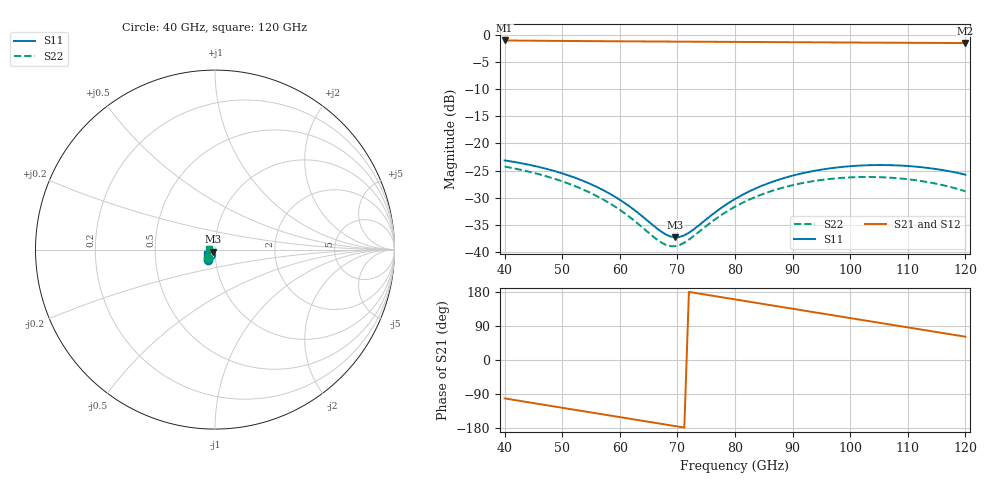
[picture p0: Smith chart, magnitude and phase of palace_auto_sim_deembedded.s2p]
! Created with skrf 1.11.0 (http://scikit-rf.org).
# GHz S DB R 50.0
!freq dBS11 angS11 dBS21 angS21 dBS12 angS12 dBS22 angS22
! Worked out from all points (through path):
!   101 points, 40 GHz to 120 GHz, reference 50 ohm
!   highest |S21| = -1.01 dB at 40 GHz (marker M1); lowest = -1.5 dB at 120 GHz (marker M2)
!   group delay of S21, straight-line fit = 6.85 ps
!   lowest |S11| = -37.3 dB at 69.6 GHz (marker M3), VSWR 1.03, Z = 49.2 - j1.05 ohm
!   |S11| at or under -10 dB: start of sweep to end of sweep
!   |S22| runs from -38.9 to -24.3 dB; largest |S21 - S12| = 1.5e-13
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40  -23.12 -126.1  -1.01 -101.3  -1.01 -101.3  -24.26 -130.9
46.4  -24.45 -142.3  -1.06 -117.2  -1.06 -117.2  -25.80 -148.7
49.6  -25.38 -149.6  -1.09 -125.1  -1.09 -125.1  -26.84 -156.8
53.6  -26.89 -157.6  -1.12 -134.9  -1.12 -134.9  -28.48 -165.8
56.8  -28.43 -162.6  -1.14 -142.8  -1.14 -142.8  -30.15 -171.4
60  -30.38 -165.3  -1.16 -150.7  -1.16 -150.7  -32.24 -174.6
64  -33.51 -162.1  -1.19 -160.6  -1.19 -160.6  -35.55 -171.1
67.2  -36.26 -148.2  -1.20 -168.5  -1.20 -168.5  -38.26 -155.4
68.8  -37.16 -135.4  -1.21 -172.4  -1.21 -172.4  -38.93 -142.1
69.6  -37.31 -128.1  -1.22 -174.4  -1.22 -174.4  -38.94 -134.8
70.4  -37.23 -120.7  -1.22 -176.4  -1.22 -176.4  -38.71 -127.8
72  -36.46 -107.5  -1.23 179.7  -1.23 179.7  -37.73 -116.3
76.8  -32.51 -89.3  -1.26 167.8  -1.26 167.8  -33.80 -102.8
80  -30.24 -88.2  -1.27 159.9  -1.27 159.9  -31.67 -103.6
83.2  -28.48 -90.6  -1.29 152.0  -1.29 152.0  -30.02 -107.5
86.4  -27.10 -94.8  -1.31 144.1  -1.31 144.1  -28.75 -113.0
93.6  -25.08 -107.0  -1.35 126.4  -1.35 126.4  -26.95 -128.0
97.6  -24.44 -114.5  -1.37 116.5  -1.37 116.5  -26.43 -136.9
100.8  -24.13 -120.6  -1.39 108.7  -1.39 108.7  -26.22 -144.2
107.2  -24.01 -132.6  -1.42 92.9  -1.42 92.9  -26.33 -158.7
113.6  -24.53 -143.9  -1.45 77.2  -1.45 77.2  -27.15 -172.7
120  -25.75 -153.8  -1.48 61.5  -1.48 61.5  -28.82 174.7
